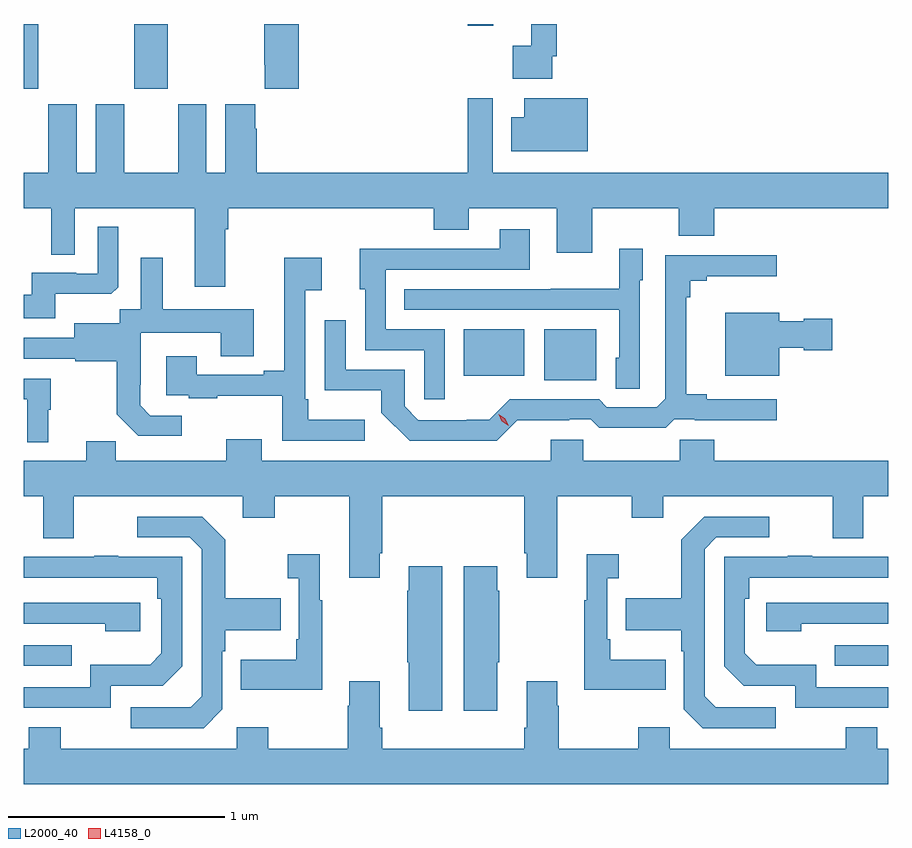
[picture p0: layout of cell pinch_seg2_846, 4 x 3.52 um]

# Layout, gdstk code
import gdstk
lib = gdstk.Library(unit=1e-6, precision=1e-09)
def R(c, l, rs):  # rectangles x0, y0, x1, y1
    for r in rs: c.add(gdstk.rectangle(r[:2], r[2:], *l))
def P(c, l, *ps):  # polygons
    for p in ps: c.add(gdstk.Polygon(p, *l))
L2000_40 = (2000, 40)
L4158_0 = (4158, 0)

pinch_seg2_846 = lib.new_cell('pinch_seg2_846')
R(pinch_seg2_846, L2000_40, [(623.975,625.539,624.197,625.635), (627.727,625.539,627.975,625.635), (626.384,626.861,626.623,627.097), (626.012,626.882,626.29,627.097), (623.975,628.209,624.042,628.509), (624.487,628.209,624.642,628.509), (626.029,628.5,626.147,628.509)])
P(pinch_seg2_846, L2000_40, [(625.247,628.509),(625.087,628.509),(625.087,628.321),(625.091,628.321),(625.091,628.209),(625.247,628.209)],
  [(626.421,628.36),(626.441,628.36),(626.441,628.509),(626.324,628.509),(626.324,628.409),(626.238,628.409),(626.238,628.256),(626.421,628.256)],
  [(626.584,628.165),(626.291,628.165),(626.291,628.078),(626.23,628.078),(626.23,627.92),(626.584,627.92)],
  [(624.907,627.56),(624.92,627.56),(624.92,627.656),(625.871,627.656),(625.871,627.557),(626.035,627.557),(626.035,627.656),(626.441,627.656),(626.441,627.45),(626.605,627.45),(626.605,627.656),(627.005,627.656),(627.005,627.528),(627.169,627.528),(627.169,627.656),(627.975,627.656),(627.975,627.82),(626.145,627.82),(626.145,628.165),(626.029,628.165),(626.029,627.82),(625.052,627.82),(625.052,628.025),(625.045,628.025),(625.045,628.138),(624.908,628.138),(624.908,627.82),(624.82,627.82),(624.82,628.138),(624.689,628.138),(624.689,627.82),(624.439,627.82),(624.439,628.138),(624.308,628.138),(624.308,627.82),(624.22,627.82),(624.22,628.138),(624.089,628.138),(624.089,627.82),(623.975,627.82),(623.975,627.656),(624.102,627.656),(624.102,627.442),(624.21,627.442),(624.21,627.656),(624.767,627.656),(624.767,627.294),(624.907,627.294)],
  [(624.121,627.26),(624.379,627.26),(624.411,627.291),(624.411,627.571),(624.318,627.571),(624.318,627.354),(624.218,627.354),(624.218,627.357),(624.011,627.357),(624.011,627.256),(623.975,627.256),(623.975,627.147),(624.121,627.147)],
  [(625.923,627.096),(625.65,627.096),(625.65,627.372),(626.317,627.372),(626.317,627.559),(626.177,627.559),(626.177,627.468),(625.747,627.468),(625.747,627.47),(625.529,627.47),(625.529,627.282),(625.554,627.282),(625.554,627),(625.827,627),(625.827,626.772),(625.923,626.772)],
  [(626.826,627.324),(626.839,627.324),(626.839,627.469),(626.73,627.469),(626.73,627.283),(626.413,627.283),(626.413,627.282),(625.735,627.282),(625.735,627.186),(626.73,627.186),(626.73,626.964),(626.714,626.964),(626.714,626.821),(626.826,626.821)],
  [(626.258,626.675),(626.498,626.675),(626.498,626.679),(626.598,626.679),(626.638,626.64),(626.945,626.64),(626.985,626.679),(627.079,626.679),(627.079,626.675),(627.46,626.675),(627.46,626.772),(627.136,626.772),(627.136,626.795),(627.041,626.795),(627.041,627.245),(627.059,627.245),(627.059,627.322),(627.136,627.322),(627.136,627.341),(627.46,627.341),(627.46,627.438),(626.943,627.438),(626.943,626.775),(626.904,626.736),(626.673,626.736),(626.637,626.772),(626.223,626.772),(626.129,626.678),(626.024,626.678),(626.024,626.676),(625.8,626.676),(625.737,626.739),(625.737,626.91),(625.464,626.91),(625.464,627.139),(625.368,627.139),(625.368,626.813),(625.63,626.813),(625.63,626.711),(625.76,626.58),(626.163,626.58)],
  [(624.706,626.697),(624.561,626.697),(624.514,626.744),(624.514,626.839),(624.516,626.839),(624.516,627.08),(624.887,627.08),(624.887,626.971),(625.039,626.971),(625.039,627.19),(624.619,627.19),(624.619,627.427),(624.515,627.427),(624.515,627.188),(624.42,627.188),(624.42,627.124),(624.209,627.124),(624.209,627.057),(623.975,627.057),(623.975,626.961),(624.213,626.961),(624.213,626.949),(624.405,626.949),(624.405,626.703),(624.505,626.603),(624.706,626.603)],
  [(625.552,626.677),(625.291,626.677),(625.291,626.773),(625.278,626.773),(625.278,627.278),(625.354,627.278),(625.354,627.427),(625.181,627.427),(625.181,626.905),(625.085,626.905),(625.085,626.886),(624.775,626.886),(624.775,626.971),(624.635,626.971),(624.635,626.79),(624.739,626.79),(624.739,626.778),(624.871,626.778),(624.871,626.789),(625.17,626.789),(625.17,626.58),(625.552,626.58)],
  [(627.472,627.011),(627.585,627.011),(627.585,626.999),(627.715,626.999),(627.715,627.146),(627.585,627.146),(627.585,627.133),(627.472,627.133),(627.472,627.172),(627.221,627.172),(627.221,626.882),(627.472,626.882)],
  [(624.088,626.724),(624.1,626.724),(624.1,626.868),(623.975,626.868),(623.975,626.772),(623.99,626.772),(623.99,626.573),(624.088,626.573)],
  [(625.621,626.059),(625.634,626.059),(625.634,626.324),(626.291,626.324),(626.291,626.059),(626.303,626.059),(626.303,625.947),(626.443,625.947),(626.443,626.324),(626.788,626.324),(626.788,626.225),(626.935,626.225),(626.935,626.324),(627.719,626.324),(627.719,626.13),(627.859,626.13),(627.859,626.324),(627.975,626.324),(627.975,626.488),(627.17,626.488),(627.17,626.586),(627.01,626.586),(627.01,626.488),(626.565,626.488),(626.565,626.586),(626.414,626.586),(626.414,626.488),(625.075,626.488),(625.075,626.587),(624.911,626.587),(624.911,626.488),(624.401,626.488),(624.401,626.579),(624.263,626.579),(624.263,626.488),(623.975,626.488),(623.975,626.324),(624.065,626.324),(624.065,626.13),(624.205,626.13),(624.205,626.324),(624.989,626.324),(624.989,626.225),(625.137,626.225),(625.137,626.324),(625.481,626.324),(625.481,625.947),(625.621,625.947)],
  [(624.894,625.338),(624.894,625.607),(624.907,625.607),(624.907,625.703),(625.163,625.703),(625.163,625.851),(624.907,625.851),(624.907,626.123),(624.801,626.229),(624.501,626.229),(624.501,626.133),(624.744,626.133),(624.798,626.079),(624.798,625.398),(624.747,625.347),(624.471,625.347),(624.471,625.251),(624.807,625.251)],
  [(627.454,625.347),(627.177,625.347),(627.126,625.398),(627.126,626.079),(627.18,626.133),(627.424,626.133),(627.424,626.229),(627.123,626.229),(627.018,626.123),(627.018,625.851),(626.761,625.851),(626.761,625.703),(627.018,625.703),(627.018,625.607),(627.03,625.607),(627.03,625.338),(627.117,625.251),(627.454,625.251)],
  [(625.357,625.843),(625.345,625.843),(625.345,626.056),(625.197,626.056),(625.197,625.943),(625.248,625.943),(625.248,625.663),(625.236,625.663),(625.236,625.567),(624.979,625.567),(624.979,625.427),(625.357,625.427)],
  [(626.945,625.567),(626.689,625.567),(626.689,625.663),(626.676,625.663),(626.676,625.943),(626.728,625.943),(626.728,626.056),(626.579,626.056),(626.579,625.843),(626.568,625.843),(626.568,625.427),(626.945,625.427)],
  [(624.378,625.446),(624.618,625.446),(624.708,625.536),(624.708,626.043),(624.413,626.043),(624.413,626.048),(624.301,626.048),(624.301,626.043),(623.975,626.043),(623.975,625.947),(624.592,625.947),(624.592,625.85),(624.612,625.85),(624.612,625.596),(624.559,625.543),(624.282,625.543),(624.282,625.44),(623.975,625.44),(623.975,625.344),(624.378,625.344)],
  [(627.975,625.44),(627.642,625.44),(627.642,625.543),(627.365,625.543),(627.312,625.596),(627.312,625.85),(627.332,625.85),(627.332,625.947),(627.975,625.947),(627.975,626.043),(627.623,626.043),(627.623,626.048),(627.511,626.048),(627.511,626.043),(627.216,626.043),(627.216,625.536),(627.306,625.446),(627.546,625.446),(627.546,625.344),(627.975,625.344)],
  [(626.167,625.555),(626.175,625.555),(626.175,625.886),(626.167,625.886),(626.167,625.999),(626.012,625.999),(626.012,625.332),(626.167,625.332)],
  [(625.912,625.999),(625.757,625.999),(625.757,625.886),(625.75,625.886),(625.75,625.555),(625.757,625.555),(625.757,625.332),(625.912,625.332)],
  [(624.514,625.83),(623.975,625.83),(623.975,625.734),(624.353,625.734),(624.353,625.7),(624.514,625.7)],
  [(627.572,625.734),(627.975,625.734),(627.975,625.83),(627.411,625.83),(627.411,625.7),(627.572,625.7)],
  [(627.975,625.156),(627.925,625.156),(627.925,625.255),(627.778,625.255),(627.778,625.156),(626.964,625.156),(626.964,625.255),(626.818,625.255),(626.818,625.156),(626.451,625.156),(626.451,625.355),(626.443,625.355),(626.443,625.468),(626.303,625.468),(626.303,625.252),(626.291,625.252),(626.291,625.156),(625.634,625.156),(625.634,625.252),(625.621,625.252),(625.621,625.468),(625.481,625.468),(625.481,625.355),(625.474,625.355),(625.474,625.156),(625.107,625.156),(625.107,625.255),(624.96,625.255),(624.96,625.156),(624.147,625.156),(624.147,625.255),(623.999,625.255),(623.999,625.156),(623.975,625.156),(623.975,624.992),(627.975,624.992)])
P(pinch_seg2_846, L4158_0, [(626.218,626.649),(626.187,626.67),(626.172,626.704),(626.172,626.704),(626.172,626.704),(626.203,626.683),(626.218,626.649),(626.218,626.649)])

lib.write_gds('pinch_seg2_846.gds')
